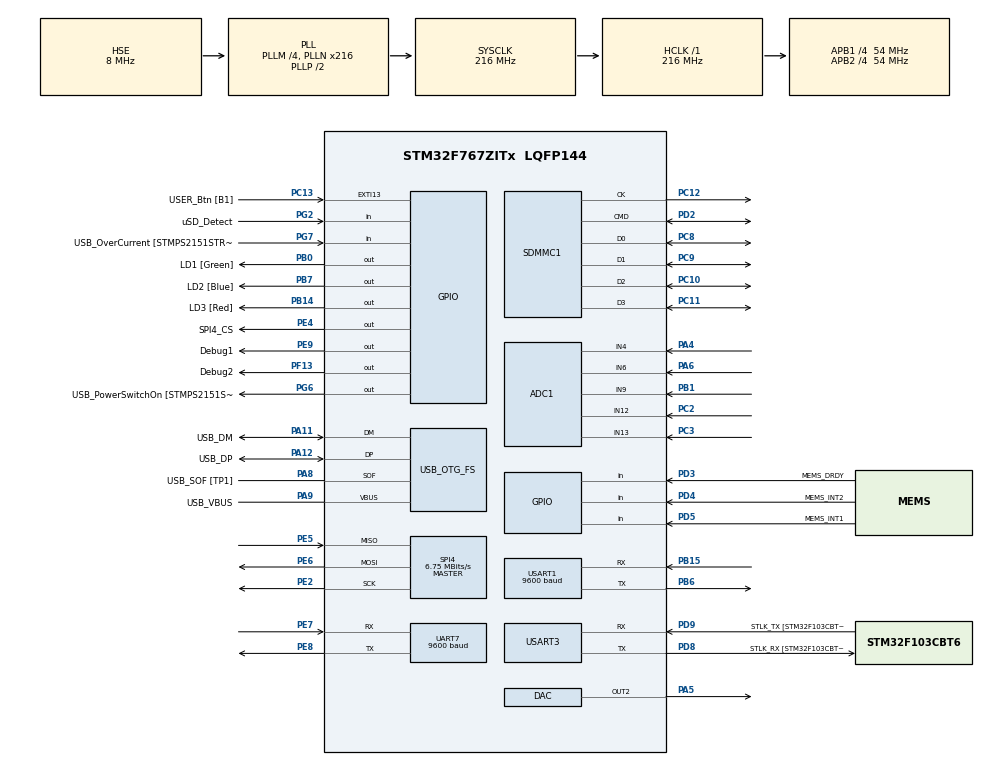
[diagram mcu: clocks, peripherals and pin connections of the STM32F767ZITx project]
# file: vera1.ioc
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ADC1.Channel-10\#ChannelRegularConversion=ADC_CHANNEL_9
ADC1.Channel-11\#ChannelRegularConversion=ADC_CHANNEL_12
ADC1.Channel-12\#ChannelRegularConversion=ADC_CHANNEL_6
ADC1.Channel-13\#ChannelRegularConversion=ADC_CHANNEL_13
ADC1.Channel-9\#ChannelRegularConversion=ADC_CHANNEL_4
ADC1.DMAContinuousRequests=ENABLE
ADC1.EOCSelection=ADC_EOC_SEQ_CONV
ADC1.ExternalTrigConv=ADC_EXTERNALTRIGCONV_T2_TRGO
ADC1.NbrOfConversion=5
ADC1.NbrOfConversionFlag=1
ADC1.Rank-10\#ChannelRegularConversion=2
ADC1.Rank-11\#ChannelRegularConversion=3
ADC1.Rank-12\#ChannelRegularConversion=4
ADC1.Rank-13\#ChannelRegularConversion=5
ADC1.Rank-9\#ChannelRegularConversion=1
ADC1.SamplingTime-10\#ChannelRegularConversion=ADC_SAMPLETIME_3CYCLES
ADC1.SamplingTime-11\#ChannelRegularConversion=ADC_SAMPLETIME_3CYCLES
ADC1.SamplingTime-12\#ChannelRegularConversion=ADC_SAMPLETIME_3CYCLES
ADC1.SamplingTime-13\#ChannelRegularConversion=ADC_SAMPLETIME_3CYCLES
ADC1.SamplingTime-9\#ChannelRegularConversion=ADC_SAMPLETIME_3CYCLES
ADC1.master=1
CORTEX_M7.CPU_DCache=Disabled
CORTEX_M7.CPU_ICache=Disabled
Dma.ADC1.2.Direction=DMA_PERIPH_TO_MEMORY
Dma.ADC1.2.FIFOMode=DMA_FIFOMODE_DISABLE
Dma.ADC1.2.Instance=DMA2_Stream4
Dma.ADC1.2.MemDataAlignment=DMA_MDATAALIGN_HALFWORD
Dma.ADC1.2.MemInc=DMA_MINC_ENABLE
Dma.ADC1.2.Mode=DMA_CIRCULAR
Dma.ADC1.2.PeriphDataAlignment=DMA_PDATAALIGN_HALFWORD
Dma.ADC1.2.PeriphInc=DMA_PINC_DISABLE
Dma.ADC1.2.Priority=DMA_PRIORITY_LOW
Dma.Request0=SDMMC1_RX
Dma.Request1=SDMMC1_TX
Dma.Request2=ADC1
Dma.Request3=SPI4_RX
Dma.Request4=SPI4_TX
Dma.Request5=UART7_RX
Dma.Request6=USART1_RX
Dma.SDMMC1_RX.0.Direction=DMA_PERIPH_TO_MEMORY
Dma.SDMMC1_RX.0.FIFOMode=DMA_FIFOMODE_ENABLE
Dma.SDMMC1_RX.0.FIFOThreshold=DMA_FIFO_THRESHOLD_FULL
Dma.SDMMC1_RX.0.Instance=DMA2_Stream6
Dma.SDMMC1_RX.0.MemBurst=DMA_MBURST_INC4
Dma.SDMMC1_RX.0.MemDataAlignment=DMA_MDATAALIGN_WORD
Dma.SDMMC1_RX.0.MemInc=DMA_MINC_ENABLE
Dma.SDMMC1_RX.0.Mode=DMA_PFCTRL
Dma.SDMMC1_RX.0.PeriphBurst=DMA_PBURST_INC4
Dma.SDMMC1_RX.0.PeriphDataAlignment=DMA_PDATAALIGN_WORD
Dma.SDMMC1_RX.0.PeriphInc=DMA_PINC_DISABLE
Dma.SDMMC1_RX.0.Priority=DMA_PRIORITY_LOW
Dma.SDMMC1_TX.1.Direction=DMA_MEMORY_TO_PERIPH
Dma.SDMMC1_TX.1.FIFOMode=DMA_FIFOMODE_ENABLE
Dma.SDMMC1_TX.1.FIFOThreshold=DMA_FIFO_THRESHOLD_FULL
Dma.SDMMC1_TX.1.Instance=DMA2_Stream3
Dma.SDMMC1_TX.1.MemBurst=DMA_MBURST_INC4
Dma.SDMMC1_TX.1.MemDataAlignment=DMA_MDATAALIGN_WORD
Dma.SDMMC1_TX.1.MemInc=DMA_MINC_ENABLE
Dma.SDMMC1_TX.1.Mode=DMA_PFCTRL
Dma.SDMMC1_TX.1.PeriphBurst=DMA_PBURST_INC4
Dma.SDMMC1_TX.1.PeriphDataAlignment=DMA_PDATAALIGN_WORD
Dma.SDMMC1_TX.1.PeriphInc=DMA_PINC_DISABLE
Dma.SDMMC1_TX.1.Priority=DMA_PRIORITY_LOW
Dma.SPI4_RX.3.Direction=DMA_PERIPH_TO_MEMORY
Dma.SPI4_RX.3.FIFOMode=DMA_FIFOMODE_DISABLE
Dma.SPI4_RX.3.Instance=DMA2_Stream0
Dma.SPI4_RX.3.MemDataAlignment=DMA_MDATAALIGN_BYTE
Dma.SPI4_RX.3.MemInc=DMA_MINC_ENABLE
Dma.SPI4_RX.3.Mode=DMA_NORMAL
Dma.SPI4_RX.3.PeriphDataAlignment=DMA_PDATAALIGN_BYTE
Dma.SPI4_RX.3.PeriphInc=DMA_PINC_DISABLE
Dma.SPI4_RX.3.Priority=DMA_PRIORITY_LOW
Dma.SPI4_TX.4.Direction=DMA_MEMORY_TO_PERIPH
Dma.SPI4_TX.4.FIFOMode=DMA_FIFOMODE_DISABLE
Dma.SPI4_TX.4.Instance=DMA2_Stream1
Dma.SPI4_TX.4.MemDataAlignment=DMA_MDATAALIGN_BYTE
Dma.SPI4_TX.4.MemInc=DMA_MINC_ENABLE
Dma.SPI4_TX.4.Mode=DMA_NORMAL
Dma.SPI4_TX.4.PeriphDataAlignment=DMA_PDATAALIGN_BYTE
Dma.SPI4_TX.4.PeriphInc=DMA_PINC_DISABLE
Dma.SPI4_TX.4.Priority=DMA_PRIORITY_LOW
Dma.UART7_RX.5.Direction=DMA_PERIPH_TO_MEMORY
Dma.UART7_RX.5.FIFOMode=DMA_FIFOMODE_DISABLE
Dma.UART7_RX.5.Instance=DMA1_Stream3
Dma.UART7_RX.5.MemDataAlignment=DMA_MDATAALIGN_BYTE
Dma.UART7_RX.5.MemInc=DMA_MINC_ENABLE
Dma.UART7_RX.5.Mode=DMA_NORMAL
Dma.UART7_RX.5.PeriphDataAlignment=DMA_PDATAALIGN_BYTE
Dma.UART7_RX.5.PeriphInc=DMA_PINC_DISABLE
Dma.UART7_RX.5.Priority=DMA_PRIORITY_LOW
Dma.USART1_RX.6.Direction=DMA_PERIPH_TO_MEMORY
Dma.USART1_RX.6.FIFOMode=DMA_FIFOMODE_DISABLE
Dma.USART1_RX.6.Instance=DMA2_Stream2
Dma.USART1_RX.6.MemDataAlignment=DMA_MDATAALIGN_BYTE
Dma.USART1_RX.6.MemInc=DMA_MINC_ENABLE
Dma.USART1_RX.6.Mode=DMA_NORMAL
Dma.USART1_RX.6.PeriphDataAlignment=DMA_PDATAALIGN_BYTE
Dma.USART1_RX.6.PeriphInc=DMA_PINC_DISABLE
Dma.USART1_RX.6.Priority=DMA_PRIORITY_LOW
FATFS.BSP.number=1
FATFS.USE_DMA_CODE_SD=1
FATFS._FS_EXFAT=0
FATFS._FS_NORTC=1
FATFS._NORTC_MDAY=18
FATFS._NORTC_MON=7
FATFS._NORTC_YEAR=2024
FATFS._USE_LFN=1
FATFS0.BSP.STBoard=false
FATFS0.BSP.api=Unknown
FATFS0.BSP.instance=PG2
FATFS0.BSP.ip=GPIO
FATFS0.BSP.mode=Input
FATFS0.BSP.name=Detect_SDIO
FATFS0.BSP.solution=PG2
Mcu.Family=STM32F7
Mcu.Name=STM32F767ZITx
Mcu.Package=LQFP144
NVIC.ADC_IRQn=true\:2\:2\:true\:false\:true\:true\:true\:true
NVIC.DMA1_Stream3_IRQn=true\:0\:0\:false\:false\:true\:false\:true\:true
NVIC.DMA2_Stream0_IRQn=true\:1\:1\:true\:false\:true\:false\:true\:true
NVIC.DMA2_Stream1_IRQn=true\:2\:2\:true\:false\:true\:false\:true\:true
NVIC.DMA2_Stream2_IRQn=true\:0\:0\:false\:false\:true\:false\:true\:true
NVIC.DMA2_Stream3_IRQn=true\:0\:0\:true\:false\:true\:false\:true\:true
NVIC.DMA2_Stream4_IRQn=true\:2\:2\:true\:false\:true\:false\:true\:true
NVIC.DMA2_Stream6_IRQn=true\:0\:0\:true\:false\:true\:false\:true\:true
NVIC.OTG_FS_IRQn=true\:0\:0\:false\:false\:true\:false\:true\:true
NVIC.PriorityGroup=NVIC_PRIORITYGROUP_2
NVIC.SDMMC1_IRQn=true\:0\:0\:true\:false\:true\:true\:true\:true
NVIC.SPI4_IRQn=true\:1\:1\:true\:false\:true\:true\:true\:true
NVIC.TIM3_IRQn=true\:2\:2\:true\:false\:true\:true\:true\:true
NVIC.UART7_IRQn=true\:2\:2\:true\:false\:true\:true\:true\:true
NVIC.USART1_IRQn=true\:0\:0\:false\:false\:true\:true\:true\:true
PA10.GPIO_Label=USB_ID
PA10.Signal=USB_OTG_FS_ID
PA11.GPIO_Label=USB_DM
PA11.Mode=Device_Only
PA11.Signal=USB_OTG_FS_DM
PA12.GPIO_Label=USB_DP
PA12.Mode=Device_Only
PA12.Signal=USB_OTG_FS_DP
PA13.GPIO_Label=TMS
PA13.Mode=Serial_Wire
PA13.Signal=SYS_JTMS-SWDIO
PA14.GPIO_Label=TCK
PA14.Mode=Serial_Wire
PA14.Signal=SYS_JTCK-SWCLK
PA2.GPIO_Label=RMII_MDIO [LAN8742A-CZ-TR_MDIO]
PA2.Signal=ETH_MDIO
PA4.Signal=ADCx_IN4
PA5.Signal=COMP_DAC2_group
PA6.Signal=ADCx_IN6
PA7.GPIO_Label=RMII_CRS_DV [LAN8742A-CZ-TR_CRS_DV]
PA7.Signal=ETH_CRS_DV
PA8.GPIO_Label=USB_SOF [TP1]
PA8.Mode=Activate_SOF_FS
PA8.Signal=USB_OTG_FS_SOF
PA9.GPIO_Label=USB_VBUS
PA9.Mode=Activate_VBUS
PA9.Signal=USB_OTG_FS_VBUS
PB0.GPIO_Label=LD1 [Green]
PB0.Signal=GPIO_Output
PB1.Signal=ADCx_IN9
PB13.GPIO_Label=RMII_TXD1 [LAN8742A-CZ-TR_TXD1]
PB13.Signal=ETH_TXD1
PB14.GPIO_Label=LD3 [Red]
PB14.Signal=GPIO_Output
PB15.Mode=Asynchronous
PB15.Signal=USART1_RX
PB3.Signal=SYS_JTDO-SWO
PB6.Mode=Asynchronous
PB6.Signal=USART1_TX
PB7.GPIO_Label=LD2 [Blue]
PB7.Signal=GPIO_Output
PB8.Signal=UART5_RX
PB9.Signal=UART5_TX
PC1.GPIO_Label=RMII_MDC [LAN8742A-CZ-TR_MDC]
PC1.Signal=ETH_MDC
PC10.GPIO_PuPd=GPIO_PULLUP
PC10.GPIO_Speed_High_Default=GPIO_SPEED_FREQ_HIGH
PC10.Mode=SD_4_bits_Wide_bus
PC10.Signal=SDMMC1_D2
PC11.GPIO_PuPd=GPIO_PULLUP
PC11.GPIO_Speed_High_Default=GPIO_SPEED_FREQ_HIGH
PC11.Mode=SD_4_bits_Wide_bus
PC11.Signal=SDMMC1_D3
PC12.GPIO_PuPd=GPIO_PULLUP
PC12.GPIO_Speed_High_Default=GPIO_SPEED_FREQ_HIGH
PC12.Mode=SD_4_bits_Wide_bus
PC12.Signal=SDMMC1_CK
PC13.GPIO_Label=USER_Btn [B1]
PC13.Signal=GPXTI13
PC14/OSC32_IN.Signal=RCC_OSC32_IN
PC15/OSC32_OUT.Signal=RCC_OSC32_OUT
PC2.Signal=ADCx_IN12
PC3.Signal=ADCx_IN13
PC4.GPIO_Label=RMII_RXD0 [LAN8742A-CZ-TR_RXD0]
PC4.Signal=ETH_RXD0
PC5.GPIO_Label=RMII_RXD1 [LAN8742A-CZ-TR_RXD1]
PC5.Signal=ETH_RXD1
PC8.GPIO_PuPd=GPIO_PULLUP
PC8.GPIO_Speed_High_Default=GPIO_SPEED_FREQ_HIGH
PC8.Mode=SD_4_bits_Wide_bus
PC8.Signal=SDMMC1_D0
PC9.GPIO_PuPd=GPIO_PULLUP
PC9.GPIO_Speed_High_Default=GPIO_SPEED_FREQ_HIGH
PC9.Mode=SD_4_bits_Wide_bus
PC9.Signal=SDMMC1_D1
PD2.GPIO_PuPd=GPIO_PULLUP
PD2.GPIO_Speed_High_Default=GPIO_SPEED_FREQ_HIGH
PD2.Mode=SD_4_bits_Wide_bus
PD2.Signal=SDMMC1_CMD
PD3.GPIO_Label=MEMS_DRDY
PD3.Signal=GPIO_Input
PD4.GPIO_Label=MEMS_INT2
PD4.Signal=GPIO_Input
PD5.GPIO_Label=MEMS_INT1
PD5.Signal=GPIO_Input
PD8.GPIO_Label=STLK_RX [STM32F103CBT6_PA3]
PD8.Mode=Asynchronous
PD8.Signal=USART3_TX
PD9.GPIO_Label=STLK_TX [STM32F103CBT6_PA2]
PD9.Mode=Asynchronous
PD9.Signal=USART3_RX
PE2.Mode=Full_Duplex_Master
PE2.Signal=SPI4_SCK
PE4.GPIO_Label=SPI4_CS
PE4.GPIO_Speed=GPIO_SPEED_FREQ_MEDIUM
PE4.Signal=GPIO_Output
PE5.Mode=Full_Duplex_Master
PE5.Signal=SPI4_MISO
PE6.Mode=Full_Duplex_Master
PE6.Signal=SPI4_MOSI
PE7.Mode=Asynchronous
PE7.Signal=UART7_RX
PE8.Mode=Asynchronous
PE8.Signal=UART7_TX
PE9.GPIO_Label=Debug1
PE9.GPIO_ModeDefaultOutputPP=GPIO_MODE_OUTPUT_PP
PE9.GPIO_PuPd=GPIO_NOPULL
PE9.GPIO_Speed=GPIO_SPEED_FREQ_MEDIUM
PE9.Signal=GPIO_Output
PF13.GPIO_Label=Debug2
PF13.GPIO_Speed=GPIO_SPEED_FREQ_MEDIUM
PF13.Signal=GPIO_Output
PG13.GPIO_Label=RMII_TXD0 [LAN8742A-CZ-TR_TXD0]
PG13.Signal=ETH_TXD0
PG2.GPIO_Label=uSD_Detect
PG2.Signal=GPIO_Input
PG6.GPIO_Label=USB_PowerSwitchOn [STMPS2151STR_EN]
PG6.Signal=GPIO_Output
PG7.GPIO_Label=USB_OverCurrent [STMPS2151STR_FAULT]
PG7.Signal=GPIO_Input
PH0/OSC_IN.Mode=HSE-External-Oscillator
PH0/OSC_IN.Signal=RCC_OSC_IN
PH1/OSC_OUT.Mode=HSE-External-Oscillator
PH1/OSC_OUT.Signal=RCC_OSC_OUT
ProjectManager.HeapSize=0x200
ProjectManager.StackSize=0x400
ProjectManager.TargetToolchain=STM32CubeIDE
RCC.48MHZClocksFreq_Value=24000000
RCC.AHBFreq_Value=216000000
RCC.APB1CLKDivider=RCC_HCLK_DIV4
RCC.APB1Freq_Value=54000000
RCC.APB1TimFreq_Value=108000000
RCC.APB2CLKDivider=RCC_HCLK_DIV4
RCC.APB2Freq_Value=54000000
RCC.APB2TimFreq_Value=108000000
RCC.CortexFreq_Value=216000000
RCC.HCLKFreq_Value=216000000
RCC.HSE_VALUE=8000000
RCC.HSI_VALUE=16000000
RCC.LSE_VALUE=32768
RCC.PLLM=4
RCC.PLLMUL=RCC_PLL_MUL9
RCC.PLLN=216
RCC.PLLQ=9
RCC.PRESCALERUSB=RCC_USBCLKSOURCE_PLL_DIV1_5
RCC.SDMMCClockSelection=RCC_SDMMC1CLKSOURCE_CLK48
RCC.SYSCLKFreq_VALUE=216000000
RCC.SYSCLKSource=RCC_SYSCLKSOURCE_PLLCLK
RCC.SYSCLKSourceVirtual=RCC_SYSCLKSOURCE_PLLCLK
RCC.USBFreq_Value=48000000
RCC.VCOOutputFreq_Value=432000000
SH.ADCx_IN12.0=ADC1_IN12,IN12
SH.ADCx_IN13.0=ADC1_IN13,IN13
SH.ADCx_IN4.0=ADC1_IN4,IN4
SH.ADCx_IN6.0=ADC1_IN6,IN6
SH.ADCx_IN9.0=ADC1_IN9,IN9
SH.COMP_DAC2_group.0=DAC_OUT2,DAC_OUT2
SPI4.BaudRatePrescaler=SPI_BAUDRATEPRESCALER_8
SPI4.CalculateBaudRate=6.75 MBits/s
SPI4.DataSize=SPI_DATASIZE_8BIT
SPI4.Direction=SPI_DIRECTION_2LINES
SPI4.Mode=SPI_MODE_MASTER
SPI4.NSSPMode=SPI_NSS_PULSE_DISABLE
SPI4.VirtualType=VM_MASTER
TIM2.Period=6750-1
TIM2.Prescaler=0
TIM2.TIM_MasterOutputTrigger=TIM_TRGO_UPDATE
TIM3.Period=4-1
TIM3.TIM_MasterOutputTrigger=TIM_TRGO_UPDATE
UART7.AutoBaudRateEnableParam=UART_ADVFEATURE_AUTOBAUDRATE_DISABLE
UART7.BaudRate=9600
UART7.OverrunDisableParam=UART_ADVFEATURE_OVERRUN_DISABLE
USART1.BaudRate=9600
USART1.OverrunDisableParam=ADVFEATURE_OVERRUN_DISABLE
USART1.VirtualMode-Asynchronous=VM_ASYNC
USART3.VirtualMode-Asynchronous=VM_ASYNC
USB_DEVICE.CLASS_NAME_FS=CDC
USB_DEVICE.MANUFACTURER_STRING-CDC_FS=MircoH
USB_DEVICE.PRODUCT_STRING_CDC_FS=VeRa1
USB_DEVICE.VID-CDC_FS=1807
USB_DEVICE.VirtualMode-CDC_FS=Cdc
USB_DEVICE.VirtualModeFS=Cdc_FS
USB_OTG_FS.VirtualMode=Device_Only
VP_FATFS_VS_SDIO.Mode=SDIO
VP_TIM2_VS_ClockSourceINT.Mode=Internal
VP_TIM3_VS_ClockSourceITR.Mode=TriggerSource_ITR1
VP_TIM3_VS_ControllerModeClock.Mode=Clock Mode
VP_USB_DEVICE_VS_USB_DEVICE_CDC_FS.Mode=CDC_FS
board=NUCLEO-F767ZI

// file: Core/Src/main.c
/* USER CODE BEGIN Header */
/*
 * Copyright (c) 2024 Mirco Heitmann
 * All rights reserved.
 *
 * This source code is licensed under the BSD-style license found in the
 * LICENSE file in the root directory of this source tree.
 *
 * main.c
 */
/* USER CODE END Header */
#include "main.h"
#include "fatfs.h"
#include "usb_device.h"

/* USER CODE BEGIN Includes */
#include "usbd_cdc_if.h"
#include "platform.h"
#include "log.h"
#include "sd.h"
#include "config.h"
#include "data_points.h"
#include "debug_tests.h"
#include "adxl.h"
#include "nmea.h"
#include "fir.h"
#include "fir_taps.h"
#include "double_buffering.h"
/* USER CODE END Includes */

/* USER CODE BEGIN PD */
#define PUTCHAR_PROTOTYPE int __io_putchar(int ch)
/* USER CODE END PD */

ADC_HandleTypeDef hadc1;
DMA_HandleTypeDef hdma_adc1;

DAC_HandleTypeDef hdac;

SD_HandleTypeDef hsd1;
DMA_HandleTypeDef hdma_sdmmc1_rx;
DMA_HandleTypeDef hdma_sdmmc1_tx;

SPI_HandleTypeDef hspi4;
DMA_HandleTypeDef hdma_spi4_rx;
DMA_HandleTypeDef hdma_spi4_tx;

TIM_HandleTypeDef htim2;
TIM_HandleTypeDef htim3;

UART_HandleTypeDef huart7;
UART_HandleTypeDef huart1;
UART_HandleTypeDef huart3;
DMA_HandleTypeDef hdma_uart7_rx;
DMA_HandleTypeDef hdma_usart1_rx;

/* USER CODE BEGIN PV */
Log_t hlog; // Logger
Vera_SD_t hvsd1; // SD card
ADXL_t hadxl; // MEMS sensor ADXL-357
NMEA_t hnmea; // GNSS module Navilock 62528
FIR_t hfir_pz[PIEZO_COUNT_MAX]; // FIR filters for ADC channels
Double_Buffer_t hbuffer_a, hbuffer_p; // Manages double buffering flags for acceleration and position buffers

uint32_t last_page_change = 0; // Time of last call to SD_NewPage
volatile uint8_t capture_running = 0; // 0: Not running, 1: running
volatile uint32_t ticks_counter = 0; // Increments with each acceleration data point
uint32_t time_p_inc = 0; // When a valid NMEA packet is received, this is set to end time of current data point (NMEA_PACKET_MERGE_DURATION)
uint32_t time_p_last = 0; // Time of last NMEA packet
uint32_t time_p_last_lock = 0; // Time of last NMEA packet with valid position

volatile uint16_t pz_dma_buffer[PIEZO_COUNT_MAX * OVERSAMPLING_RATIO_MAX]; // DMA buffer for piezo ADC data, stores n samples (where n is the oversampling ratio)

// Double buffering arrays and pointers to current element
volatile a_data_point_t a_buffer_1[A_BUFFER_LEN_MAX];
volatile a_data_point_t a_buffer_2[A_BUFFER_LEN_MAX];
volatile a_data_point_t *a_current_data_point;
volatile p_data_point_t p_buffer_1[P_BUFFER_LEN_MAX];
volatile p_data_point_t p_buffer_2[P_BUFFER_LEN_MAX];
volatile p_data_point_t *p_current_data_point;

// Flags for current data point (allow for atomic set operations in IRQ's)
volatile uint8_t flag_complete_a_mems = 0;
volatile uint8_t flag_complete_a_pz = 0;
volatile uint8_t flag_complete_p_position = 0;
volatile uint8_t flag_complete_p_speed = 0;
volatile uint8_t flag_complete_p_altitude = 0;
volatile uint8_t flag_complete_p_time = 0;
/* USER CODE END PV */

void SystemClock_Config(void);
static void MX_GPIO_Init(void);
static void MX_DMA_Init(void);
static void MX_SDMMC1_SD_Init(void);
static void MX_USART3_UART_Init(void);
static void MX_TIM2_Init(void);
static void MX_ADC1_Init(void);
static void MX_TIM3_Init(void);
static void MX_DAC_Init(void);
static void MX_SPI4_Init(void);
static void MX_UART7_Init(void);
static void MX_USART1_UART_Init(void);
/* USER CODE BEGIN PFP */
void Main_Save_a_Buffer(volatile a_data_point_t *buffer);
void Main_Save_p_Buffer(volatile p_data_point_t *buffer);
void Main_Double_Buffer_Loop();
void Main_NMEA_Loop();
void Main_Increment_a_Buffer();
void Main_Increment_p_Buffer();
/* USER CODE END PFP */

int main(void)
{

	/* MCU Configuration--------------------------------------------------------*/

	/* Reset of all peripherals, Initializes the Flash interface and the Systick. */
	HAL_Init();

	/* Configure the system clock */
	SystemClock_Config();

	/* Initialize all configured peripherals */
	MX_GPIO_Init();
	MX_DMA_Init();
	MX_SDMMC1_SD_Init();
	MX_FATFS_Init();
	MX_USART3_UART_Init();
	MX_TIM2_Init();
	MX_ADC1_Init();
	MX_TIM3_Init();
	MX_DAC_Init();
	MX_SPI4_Init();
	MX_UART7_Init();
	MX_USB_DEVICE_Init();
	MX_USART1_UART_Init();
	/* USER CODE BEGIN 2 */

	// Check if card should be formatted -> either by config or by button push
	uint8_t do_format_sd = DEBUG_TEST_ALWAYS_FORMAT_SD;
#if DEBUG_TEST_NEVER_FORMAT_SD
	do_format_sd = 0;
#else
	if (HAL_GPIO_ReadPin(USER_Btn_GPIO_Port, USER_Btn_Pin) == GPIO_PIN_SET)
	{
		do_format_sd = 1;
	}
#endif

	// Boot blink sequence
	for (uint8_t i = 0; i < 3; i++)
	{
		HAL_GPIO_WritePin(LED_GNSS_LOCK, i == 0 ? GPIO_PIN_SET : GPIO_PIN_RESET);
		HAL_GPIO_WritePin(LED_ACTIVE, i == 1 ? GPIO_PIN_SET : GPIO_PIN_RESET);
		HAL_GPIO_WritePin(LED_ERROR, i == 2 ? GPIO_PIN_SET : GPIO_PIN_RESET);
		HAL_Delay(125);
	}
	HAL_GPIO_WritePin(LED_GNSS_LOCK, GPIO_PIN_RESET);
	HAL_GPIO_WritePin(LED_ACTIVE, GPIO_PIN_RESET);
	HAL_GPIO_WritePin(LED_ERROR, GPIO_PIN_RESET);
	HAL_GPIO_WritePin(Debug1_GPIO_Port, Debug1_Pin, GPIO_PIN_RESET);
	HAL_GPIO_WritePin(Debug2_GPIO_Port, Debug2_Pin, GPIO_PIN_RESET);

	// Blink as acknowledgement for SD formatting
	if (do_format_sd)
	{
		HAL_GPIO_TogglePin(LED_GNSS_LOCK);
		HAL_Delay(100);
		HAL_GPIO_TogglePin(LED_GNSS_LOCK);
	}

	// Provide some time to connect virtual COM port
	HAL_Delay(2500);

	// Init logger
	hlog.huart = &huart3;
	hlog.hvsd = &hvsd1;
	hlog.flush_timeout = 100;
	Log_Init(&hlog);

	printf("\r\n\r\n(%lu) Booting...\r\n", HAL_GetTick());

#if DEBUG_TEST_FAST_BOOT
	Debug_test_fast_boot(&hadc1, &htim2, &htim3, (uint16_t*)pz_dma_buffer);
	capture_running = 1;
	while (1)
		;
#endif

	// Init SD card
	hvsd1.Detect_GPIO_Port = uSD_Detect_GPIO_Port;
	hvsd1.Detect_Pin = uSD_Detect_Pin;
	hvsd1.fatfs = &SDFatFS;
	hvsd1.fatfs_file = &SDFile;
	hvsd1.fatfs_path = SDPath;
	if (SD_Init(&hvsd1, do_format_sd) != HAL_OK)
	{
		Error_Handler();
	}
	printf("(%lu) SD card initialized\r\n", HAL_GetTick());

	// Load default configuration
	Config_Default();
#if LOAD_CONFIG
	// Load configuration from SD card
	char config_buffer[500];
	if (SD_FileExists(&hvsd1, CONFIG_FILE_PATH))
	{
		printf("(%lu) Config found, reading...\r\n", HAL_GetTick());
		UINT config_buffer_size = 0;
		if (SD_ReadBuffer(&hvsd1, CONFIG_FILE_PATH, config_buffer, sizeof(config_buffer), &config_buffer_size) != HAL_OK)
		{
			Error_Handler();
		}
		if (config_buffer_size < sizeof(config_buffer))
		{
			config_buffer[config_buffer_size] = '\0';
			Config_Load(config_buffer, strlen(config_buffer));
		}
		else
		{
			printf("(%lu) Config file too large, using default\r\n", HAL_GetTick());
		}
	}
	else
	{
		printf("(%lu) No config found, writing default...\r\n", HAL_GetTick());
		Config_Save(config_buffer, sizeof(config_buffer));
		if (SD_TouchFile(&hvsd1, CONFIG_FILE_PATH) != HAL_OK)
		{
			Error_Handler();
		}
		if (SD_WriteBuffer(&hvsd1, CONFIG_FILE_PATH, config_buffer, strlen(config_buffer)) != HAL_OK)
		{
			Error_Handler();
		}
	}
#endif
#if !DEBUG_TEST_NO_CONFIG_LOG
	Debug_test_print_config();
#endif

	// Initialize based on config
	if (Config_Init(&hadc1, &htim2, &htim3) != HAL_OK)
	{
		Error_Handler();
	}
	printf("(%lu) Configuration loaded\r\n", HAL_GetTick());

	// Init acceleration data double buffering
	hbuffer_a.buffer_len = config.a_buffer_len;
	hbuffer_a.buffer_1 = a_buffer_1;
	hbuffer_a.buffer_2 = a_buffer_2;
	hbuffer_a.element_size = sizeof(a_data_point_t);
	Double_Buffer_Init(&hbuffer_a);
	a_current_data_point = Double_Buffer_Current(&hbuffer_a);

	// Init position data double buffering
	hbuffer_p.buffer_len = config.p_buffer_len;
	hbuffer_p.buffer_1 = p_buffer_1;
	hbuffer_p.buffer_2 = p_buffer_2;
	hbuffer_p.element_size = sizeof(p_data_point_t);
	Double_Buffer_Init(&hbuffer_p);
	p_current_data_point = Double_Buffer_Current(&hbuffer_p);

	// Initialize ADXL357
	hadxl.hspi = &ADXL_SPI;
	hadxl.sampling_rate = config.a_sampling_rate;
	hadxl.acceleration_range = config.adxl_range;
	hadxl.timeout = 100;
	hadxl.CS_GPIO_Port = ADXL_CS_GPIO_Port;
	hadxl.CS_Pin = ADXL_CS_Pin;
	if (ADXL_Init(&hadxl) == HAL_ERROR)
	{
		Error_Handler();
	}

	// Initialize Navilock 62528
	hnmea.huart = &NMEA_HUART;
	hnmea.baud = 115200;
	hnmea.tx_timeout = 1000;
	hnmea.rx_timeout = 1000;
	hnmea.sampling_rate = config.p_sampling_rate;
	if (NMEA_Init(&hnmea) == HAL_ERROR)
	{
		Error_Handler();
	}

	// Wait for GNSS date if configured
	if (!config.boot_without_date)
	{
		NMEA_Data_t gnss_data = NMEA_GetDate(&hnmea);
		if (gnss_data.date_valid)
		{
			// Received valid date
			hvsd1.date_year = gnss_data.year + 2000;
			hvsd1.date_month = gnss_data.month;
			hvsd1.date_day = gnss_data.day;
			printf("(%lu) GNSS date: %04hu-%02u-%02u", HAL_GetTick(), hvsd1.date_year, hvsd1.date_month, hvsd1.date_day);
			if (gnss_data.time_valid)
			{
				// Received valid time
				printf(" UTC time: %02u:%02u:%06.3f\r\n", gnss_data.hour, gnss_data.minute, gnss_data.second);
			}
			else
			{
				printf("\r\n");
			}
		}
		else
		{
			printf("(%lu) WARNING: No GNSS date received, saving as %04hu_%02u_%02u\r\n", HAL_GetTick(), hvsd1.date_year, hvsd1.date_month, hvsd1.date_day);
		}
	}

	// Create directory, initialize files
	if (SD_InitDir(&hvsd1) != HAL_OK)
	{
		// Try writing to different dir in case of error
		sprintf(hvsd1.dir_path, DIR_FORMAT, 1, 1, 1, 1L);
		printf("(%lu) WARNING: SD_Init_Dir failed, writing to error dir %s\r\n", HAL_GetTick(), hvsd1.dir_path);
		FRESULT res;
		if ((res = f_mkdir(hvsd1.dir_path)) != FR_OK)
		{
			printf("(%lu) ERROR: main: Create error dir (\"%s\") failed, is the SD card read-only?\r\n", HAL_GetTick(), hvsd1.dir_path);
			// Creating date-based directory failed and creating fallback directory failed, appearently no write access to the SD card
			Error_Handler();
			while (1)
				;
		}
		// Update file paths to use new directory
		if (SD_UpdateFilepaths(&hvsd1) != HAL_OK)
		{
			printf("(%lu) ERROR: main: SD_UpdateFilepaths failed, is the SD card read-only?\r\n", HAL_GetTick());
			// Creating files in directory failed, appearently files can not be written to the SD card
			Error_Handler();
			while (1)
				;
		}
	}
	printf("(%lu) Writing dir \"%s\"\r\n", HAL_GetTick(), hvsd1.dir_path);

	// Init digital FIR filter
	if (config.fir_type > 0)
	{
		for (uint8_t i_ch = 0; i_ch < config.piezo_count; i_ch++)
		{
			// Copy FIR taps (selected in config file) to taps array of filter instance
			memcpy(hfir_pz[i_ch].Taps, fir_taps_types[config.fir_type], fir_taps_lens[config.fir_type] * sizeof(q15_t));
			// Set filter taps count
			hfir_pz[i_ch].Nt = fir_taps_lens[config.fir_type];
			FIR_Init(&hfir_pz[i_ch]);
		}
	}

	a_current_data_point->timestamp = 0;
	p_current_data_point->timestamp = 0;

#if DEBUG_TEST_FIR_FREQUENCY_SWEEP
	Debug_test_FIR_frequency_sweep(&hfir_pz[0]);
#endif

#if DEBUG_TEST_FIR_DAC
	HAL_DAC_Start(&hdac, DAC_CHANNEL_2);
#endif

	// If button is still held down (for SD card formatting), wait for release. Otherwise capture is stopped immediately
	while (HAL_GPIO_ReadPin(USER_Btn_GPIO_Port, USER_Btn_Pin) == GPIO_PIN_SET)
		;
	// Debounce delay
	HAL_Delay(250);

	// Start piezo ADC
	if (HAL_ADC_Start_DMA(&hadc1, (uint32_t*)pz_dma_buffer, config.piezo_count * config.oversampling_ratio) == HAL_ERROR)
	{
		printf("(%lu) ERROR: main: ADC1 HAL_ADC_Start_DMA failed\r\n", HAL_GetTick());
		Error_Handler();
	}
	// Start oversampling timer
	if (HAL_TIM_Base_Start_IT(&htim2) == HAL_ERROR)
	{
		printf("(%lu) ERROR: main: HAL_TIM_Base_Start_IT failed\r\n", HAL_GetTick());
		Error_Handler();
	}
	// Start regular sampling timer
	if (HAL_TIM_Base_Start_IT(&htim3) == HAL_ERROR)
	{
		printf("(%lu) ERROR: main: HAL_TIM_Base_Start_IT failed\r\n", HAL_GetTick());
		Error_Handler();
	}

	uint32_t boot_duration = HAL_GetTick();
	printf("(%lu) Capture started\r\n", boot_duration);
	HAL_Delay(hlog.flush_timeout);
	Log_Loop(&hlog);

	// Write file headers
	hvsd1.a_header.version = VERSION;
	hvsd1.a_header.a_buffer_len = config.a_buffer_len;
	hvsd1.a_header.a_sampling_rate = config.a_sampling_rate;
	hvsd1.a_header.boot_duration = boot_duration;
	hvsd1.a_header.fir_taps_len = fir_taps_lens[config.fir_type];
	hvsd1.a_header.oversampling_ratio = config.oversampling_ratio;
	hvsd1.a_header.piezo_count_max = PIEZO_COUNT_MAX;
	hvsd1.a_header.piezo_count = config.piezo_count;
	hvsd1.p_header.version = VERSION;
	hvsd1.p_header.p_buffer_len = config.p_buffer_len;
	hvsd1.p_header.p_sampling_rate = config.p_sampling_rate;
	hvsd1.p_header.boot_duration = boot_duration;
	hvsd1.p_header.year = hvsd1.date_year;
	hvsd1.p_header.month = hvsd1.date_month;
	hvsd1.p_header.day = hvsd1.date_day;
	SD_NewPage(&hvsd1);
	// Offset so page change doesn't happen simultaneously with buffer save -> more even file size
	last_page_change = HAL_GetTick() - 181;

	// Start NMEA_NO_PACKET_DURATION from this point in time
	time_p_last = HAL_GetTick();
	time_p_last_lock = HAL_GetTick();

#if DEBUG_TEST_PRINT_NEW_PAGE
	printf("(%lu) Page %li (\"%s\", \"%s\")\r\n", HAL_GetTick(), hvsd1.page_num, hvsd1.a_file_path, hvsd1.p_file_path);
#endif
	// Activate LED
	HAL_GPIO_WritePin(LED_ACTIVE, GPIO_PIN_SET);
	capture_running = 1;
	/* USER CODE END 2 */

	/* Infinite loop */
	/* USER CODE BEGIN WHILE */
	while (capture_running)
	{
		/* USER CODE END WHILE */

		/* USER CODE BEGIN 3 */
		DEBUG_MAIN_LOOP

		// Blink dir_num with "GNSS Lock" LED
		if (HAL_GetTick() - hvsd1.a_header.boot_duration < 2000)
		{
			HAL_GPIO_WritePin(LED_GNSS_LOCK, GPIO_PIN_SET);
		}
		else if (HAL_GetTick() - hvsd1.a_header.boot_duration < 2200)
		{
			HAL_GPIO_WritePin(LED_GNSS_LOCK, GPIO_PIN_RESET);
		}
		else if (HAL_GetTick() - hvsd1.a_header.boot_duration < 2200 + hvsd1.dir_num * 400)
		{
			HAL_GPIO_WritePin(LED_GNSS_LOCK, (HAL_GetTick() - hvsd1.a_header.boot_duration - 2200) % 400 < 200 ? GPIO_PIN_SET : GPIO_PIN_RESET);
		}

		// Process double buffering (save buffers to file)
		Main_Double_Buffer_Loop();
		// Process NMEA packets (parse line from circular buffer to p_data_point_t)
		Main_NMEA_Loop();
		// Write to log (UART, USB CDC, log file)
		Log_Loop(&hlog);

		// Create new file after page_duration
		if (HAL_GetTick() - last_page_change > config.page_duration_ms)
		{
			SD_NewPage(&hvsd1);
#if DEBUG_TEST_PRINT_NEW_PAGE
			printf("(%lu) Page %li (\"%s\", \"%s\")\r\n", HAL_GetTick(), hvsd1.page_num, hvsd1.a_file_path, hvsd1.p_file_path);
#endif
			last_page_change = HAL_GetTick();
		}

		DEBUG_MAIN_LOOP

		// Poll stop button
		if (HAL_GPIO_ReadPin(USER_Btn_GPIO_Port, USER_Btn_Pin) == GPIO_PIN_SET)
		{
			capture_running = 0;
		}
	}

	// Stop sampling timers and ADC
	HAL_TIM_Base_Stop_IT(&htim2);
	HAL_TIM_Base_Stop_IT(&htim3);
	HAL_ADC_Stop_IT(&hadc1);

	// Save remaining data
	Double_Buffer_Flush(&hbuffer_a);
	Double_Buffer_Flush(&hbuffer_p);
	Main_Double_Buffer_Loop();

	// Deactivate LEDs
	HAL_GPIO_WritePin(LED_GNSS_LOCK, GPIO_PIN_RESET);
	HAL_GPIO_WritePin(LED_ACTIVE, GPIO_PIN_RESET);

	printf("(%lu) Capture stopped (\"%s\")\r\n", HAL_GetTick(), hvsd1.dir_path);

	// Uninit
	Log_Uninit(&hlog);
	SD_Uninit(&hvsd1);

	// Stop running
	while (1)
		;
	/* USER CODE END 3 */
}

void SystemClock_Config(void)
{
	RCC_OscInitTypeDef RCC_OscInitStruct = { 0 };
	RCC_ClkInitTypeDef RCC_ClkInitStruct = { 0 };

	/** Configure the main internal regulator output voltage
	 */
	__HAL_RCC_PWR_CLK_ENABLE();
	__HAL_PWR_VOLTAGESCALING_CONFIG(PWR_REGULATOR_VOLTAGE_SCALE1);

	/** Initializes the RCC Oscillators according to the specified parameters
	 * in the RCC_OscInitTypeDef structure.
	 */
	RCC_OscInitStruct.OscillatorType = RCC_OSCILLATORTYPE_HSE;
	RCC_OscInitStruct.HSEState = RCC_HSE_ON;
	RCC_OscInitStruct.PLL.PLLState = RCC_PLL_ON;
	RCC_OscInitStruct.PLL.PLLSource = RCC_PLLSOURCE_HSE;
	RCC_OscInitStruct.PLL.PLLM = 4;
	RCC_OscInitStruct.PLL.PLLN = 216;
	RCC_OscInitStruct.PLL.PLLP = RCC_PLLP_DIV2;
	RCC_OscInitStruct.PLL.PLLQ = 9;
	RCC_OscInitStruct.PLL.PLLR = 2;
	if (HAL_RCC_OscConfig(&RCC_OscInitStruct) != HAL_OK)
	{
		Error_Handler();
	}

	/** Activate the Over-Drive mode
	 */
	if (HAL_PWREx_EnableOverDrive() != HAL_OK)
	{
		Error_Handler();
	}

	/** Initializes the CPU, AHB and APB buses clocks
	 */
	RCC_ClkInitStruct.ClockType = RCC_CLOCKTYPE_HCLK | RCC_CLOCKTYPE_SYSCLK
		| RCC_CLOCKTYPE_PCLK1 | RCC_CLOCKTYPE_PCLK2;
	RCC_ClkInitStruct.SYSCLKSource = RCC_SYSCLKSOURCE_PLLCLK;
	RCC_ClkInitStruct.AHBCLKDivider = RCC_SYSCLK_DIV1;
	RCC_ClkInitStruct.APB1CLKDivider = RCC_HCLK_DIV4;
	RCC_ClkInitStruct.APB2CLKDivider = RCC_HCLK_DIV4;

	if (HAL_RCC_ClockConfig(&RCC_ClkInitStruct, FLASH_LATENCY_7) != HAL_OK)
	{
		Error_Handler();
	}
}

static void MX_ADC1_Init(void)
{

	ADC_ChannelConfTypeDef sConfig = { 0 };

	/** Configure the global features of the ADC (Clock, Resolution, Data Alignment and number of conversion)
	 */
	hadc1.Instance = ADC1;
	hadc1.Init.ClockPrescaler = ADC_CLOCK_SYNC_PCLK_DIV2;
	hadc1.Init.Resolution = ADC_RESOLUTION_12B;
	hadc1.Init.ScanConvMode = ADC_SCAN_ENABLE;
	hadc1.Init.ContinuousConvMode = DISABLE;
	hadc1.Init.DiscontinuousConvMode = DISABLE;
	hadc1.Init.ExternalTrigConvEdge = ADC_EXTERNALTRIGCONVEDGE_RISING;
	hadc1.Init.ExternalTrigConv = ADC_EXTERNALTRIGCONV_T2_TRGO;
	hadc1.Init.DataAlign = ADC_DATAALIGN_RIGHT;
	hadc1.Init.NbrOfConversion = 5;
	hadc1.Init.DMAContinuousRequests = ENABLE;
	hadc1.Init.EOCSelection = ADC_EOC_SEQ_CONV;
	if (HAL_ADC_Init(&hadc1) != HAL_OK)
	{
		Error_Handler();
	}

	/** Configure for the selected ADC regular channel its corresponding rank in the sequencer and its sample time.
	 */
	sConfig.Channel = ADC_CHANNEL_4;
	sConfig.Rank = ADC_REGULAR_RANK_1;
	sConfig.SamplingTime = ADC_SAMPLETIME_3CYCLES;
	if (HAL_ADC_ConfigChannel(&hadc1, &sConfig) != HAL_OK)
	{
		Error_Handler();
	}

	/** Configure for the selected ADC regular channel its corresponding rank in the sequencer and its sample time.
	 */
	sConfig.Channel = ADC_CHANNEL_9;
	sConfig.Rank = ADC_REGULAR_RANK_2;
	if (HAL_ADC_ConfigChannel(&hadc1, &sConfig) != HAL_OK)
	{
		Error_Handler();
	}

	/** Configure for the selected ADC regular channel its corresponding rank in the sequencer and its sample time.
	 */
	sConfig.Channel = ADC_CHANNEL_12;
	sConfig.Rank = ADC_REGULAR_RANK_3;
	if (HAL_ADC_ConfigChannel(&hadc1, &sConfig) != HAL_OK)
	{
		Error_Handler();
	}

	/** Configure for the selected ADC regular channel its corresponding rank in the sequencer and its sample time.
	 */
	sConfig.Channel = ADC_CHANNEL_6;
	sConfig.Rank = ADC_REGULAR_RANK_4;
	if (HAL_ADC_ConfigChannel(&hadc1, &sConfig) != HAL_OK)
	{
		Error_Handler();
	}

	/** Configure for the selected ADC regular channel its corresponding rank in the sequencer and its sample time.
	 */
	sConfig.Channel = ADC_CHANNEL_13;
	sConfig.Rank = ADC_REGULAR_RANK_5;
	if (HAL_ADC_ConfigChannel(&hadc1, &sConfig) != HAL_OK)
	{
		Error_Handler();
	}

}

static void MX_DAC_Init(void)
{

	DAC_ChannelConfTypeDef sConfig = { 0 };

	/** DAC Initialization
	 */
	hdac.Instance = DAC;
	if (HAL_DAC_Init(&hdac) != HAL_OK)
	{
		Error_Handler();
	}

	/** DAC channel OUT2 config
	 */
	sConfig.DAC_Trigger = DAC_TRIGGER_NONE;
	sConfig.DAC_OutputBuffer = DAC_OUTPUTBUFFER_ENABLE;
	if (HAL_DAC_ConfigChannel(&hdac, &sConfig, DAC_CHANNEL_2) != HAL_OK)
	{
		Error_Handler();
	}

}

static void MX_SDMMC1_SD_Init(void)
{

	hsd1.Instance = SDMMC1;
	hsd1.Init.ClockEdge = SDMMC_CLOCK_EDGE_RISING;
	hsd1.Init.ClockBypass = SDMMC_CLOCK_BYPASS_DISABLE;
	hsd1.Init.ClockPowerSave = SDMMC_CLOCK_POWER_SAVE_DISABLE;
	hsd1.Init.BusWide = SDMMC_BUS_WIDE_4B;
	hsd1.Init.HardwareFlowControl = SDMMC_HARDWARE_FLOW_CONTROL_DISABLE;
	hsd1.Init.ClockDiv = 0;

}

static void MX_SPI4_Init(void)
{

	/* SPI4 parameter configuration*/
	hspi4.Instance = SPI4;
	hspi4.Init.Mode = SPI_MODE_MASTER;
	hspi4.Init.Direction = SPI_DIRECTION_2LINES;
	hspi4.Init.DataSize = SPI_DATASIZE_8BIT;
	hspi4.Init.CLKPolarity = SPI_POLARITY_LOW;
	hspi4.Init.CLKPhase = SPI_PHASE_1EDGE;
	hspi4.Init.NSS = SPI_NSS_SOFT;
	hspi4.Init.BaudRatePrescaler = SPI_BAUDRATEPRESCALER_8;
	hspi4.Init.FirstBit = SPI_FIRSTBIT_MSB;
	hspi4.Init.TIMode = SPI_TIMODE_DISABLE;
	hspi4.Init.CRCCalculation = SPI_CRCCALCULATION_DISABLE;
	hspi4.Init.CRCPolynomial = 7;
	hspi4.Init.CRCLength = SPI_CRC_LENGTH_DATASIZE;
	hspi4.Init.NSSPMode = SPI_NSS_PULSE_DISABLE;
	if (HAL_SPI_Init(&hspi4) != HAL_OK)
	{
		Error_Handler();
	}

}

static void MX_TIM2_Init(void)
{

	TIM_ClockConfigTypeDef sClockSourceConfig = { 0 };
	TIM_MasterConfigTypeDef sMasterConfig = { 0 };

	htim2.Instance = TIM2;
	htim2.Init.Prescaler = 0;
	htim2.Init.CounterMode = TIM_COUNTERMODE_UP;
	htim2.Init.Period = 6750 - 1;
	htim2.Init.ClockDivision = TIM_CLOCKDIVISION_DIV1;
	htim2.Init.AutoReloadPreload = TIM_AUTORELOAD_PRELOAD_DISABLE;
	if (HAL_TIM_Base_Init(&htim2) != HAL_OK)
	{
		Error_Handler();
	}
	sClockSourceConfig.ClockSource = TIM_CLOCKSOURCE_INTERNAL;
	if (HAL_TIM_ConfigClockSource(&htim2, &sClockSourceConfig) != HAL_OK)
	{
		Error_Handler();
	}
	sMasterConfig.MasterOutputTrigger = TIM_TRGO_UPDATE;
	sMasterConfig.MasterSlaveMode = TIM_MASTERSLAVEMODE_DISABLE;
	if (HAL_TIMEx_MasterConfigSynchronization(&htim2, &sMasterConfig) != HAL_OK)
	{
		Error_Handler();
	}

}

static void MX_TIM3_Init(void)
{

	TIM_SlaveConfigTypeDef sSlaveConfig = { 0 };
	TIM_MasterConfigTypeDef sMasterConfig = { 0 };

	htim3.Instance = TIM3;
	htim3.Init.Prescaler = 0;
	htim3.Init.CounterMode = TIM_COUNTERMODE_UP;
	htim3.Init.Period = 4 - 1;
	htim3.Init.ClockDivision = TIM_CLOCKDIVISION_DIV1;
	htim3.Init.AutoReloadPreload = TIM_AUTORELOAD_PRELOAD_DISABLE;
	if (HAL_TIM_Base_Init(&htim3) != HAL_OK)
	{
		Error_Handler();
	}
	sSlaveConfig.SlaveMode = TIM_SLAVEMODE_EXTERNAL1;
	sSlaveConfig.InputTrigger = TIM_TS_ITR1;
	if (HAL_TIM_SlaveConfigSynchro(&htim3, &sSlaveConfig) != HAL_OK)
	{
		Error_Handler();
	}
	sMasterConfig.MasterOutputTrigger = TIM_TRGO_UPDATE;
	sMasterConfig.MasterSlaveMode = TIM_MASTERSLAVEMODE_DISABLE;
	if (HAL_TIMEx_MasterConfigSynchronization(&htim3, &sMasterConfig) != HAL_OK)
	{
		Error_Handler();
	}

}

static void MX_UART7_Init(void)
{

	huart7.Instance = UART7;
	huart7.Init.BaudRate = 9600;
	huart7.Init.WordLength = UART_WORDLENGTH_8B;
	huart7.Init.StopBits = UART_STOPBITS_1;
	huart7.Init.Parity = UART_PARITY_NONE;
	huart7.Init.Mode = UART_MODE_TX_RX;
	huart7.Init.HwFlowCtl = UART_HWCONTROL_NONE;
	huart7.Init.OverSampling = UART_OVERSAMPLING_16;
	huart7.Init.OneBitSampling = UART_ONE_BIT_SAMPLE_DISABLE;
	huart7.AdvancedInit.AdvFeatureInit = UART_ADVFEATURE_RXOVERRUNDISABLE_INIT;
	huart7.AdvancedInit.OverrunDisable = UART_ADVFEATURE_OVERRUN_DISABLE;
	if (HAL_UART_Init(&huart7) != HAL_OK)
	{
		Error_Handler();
	}

}

static void MX_USART1_UART_Init(void)
{

	huart1.Instance = USART1;
	huart1.Init.BaudRate = 9600;
	huart1.Init.WordLength = UART_WORDLENGTH_8B;
	huart1.Init.StopBits = UART_STOPBITS_1;
	huart1.Init.Parity = UART_PARITY_NONE;
	huart1.Init.Mode = UART_MODE_TX_RX;
	huart1.Init.HwFlowCtl = UART_HWCONTROL_NONE;
	huart1.Init.OverSampling = UART_OVERSAMPLING_16;
	huart1.Init.OneBitSampling = UART_ONE_BIT_SAMPLE_DISABLE;
	huart1.AdvancedInit.AdvFeatureInit = UART_ADVFEATURE_RXOVERRUNDISABLE_INIT;
	huart1.AdvancedInit.OverrunDisable = UART_ADVFEATURE_OVERRUN_DISABLE;
	if (HAL_UART_Init(&huart1) != HAL_OK)
	{
		Error_Handler();
	}

}

static void MX_USART3_UART_Init(void)
{

	huart3.Instance = USART3;
	huart3.Init.BaudRate = 115200;
	huart3.Init.WordLength = UART_WORDLENGTH_8B;
	huart3.Init.StopBits = UART_STOPBITS_1;
	huart3.Init.Parity = UART_PARITY_NONE;
	huart3.Init.Mode = UART_MODE_TX_RX;
	huart3.Init.HwFlowCtl = UART_HWCONTROL_NONE;
	huart3.Init.OverSampling = UART_OVERSAMPLING_16;
	huart3.Init.OneBitSampling = UART_ONE_BIT_SAMPLE_DISABLE;
	huart3.AdvancedInit.AdvFeatureInit = UART_ADVFEATURE_NO_INIT;
	if (HAL_UART_Init(&huart3) != HAL_OK)
	{
		Error_Handler();
	}

}

static void MX_DMA_Init(void)
{

	/* DMA controller clock enable */
	__HAL_RCC_DMA2_CLK_ENABLE();
	__HAL_RCC_DMA1_CLK_ENABLE();

	/* DMA interrupt init */
	/* DMA1_Stream3_IRQn interrupt configuration */
	HAL_NVIC_SetPriority(DMA1_Stream3_IRQn, 0, 0);
	HAL_NVIC_EnableIRQ(DMA1_Stream3_IRQn);
	/* DMA2_Stream0_IRQn interrupt configuration */
	HAL_NVIC_SetPriority(DMA2_Stream0_IRQn, 1, 1);
	HAL_NVIC_EnableIRQ(DMA2_Stream0_IRQn);
	/* DMA2_Stream1_IRQn interrupt configuration */
	HAL_NVIC_SetPriority(DMA2_Stream1_IRQn, 2, 2);
	HAL_NVIC_EnableIRQ(DMA2_Stream1_IRQn);
	/* DMA2_Stream2_IRQn interrupt configuration */
	HAL_NVIC_SetPriority(DMA2_Stream2_IRQn, 0, 0);
	HAL_NVIC_EnableIRQ(DMA2_Stream2_IRQn);
	/* DMA2_Stream3_IRQn interrupt configuration */
	HAL_NVIC_SetPriority(DMA2_Stream3_IRQn, 0, 0);
	HAL_NVIC_EnableIRQ(DMA2_Stream3_IRQn);
	/* DMA2_Stream4_IRQn interrupt configuration */
	HAL_NVIC_SetPriority(DMA2_Stream4_IRQn, 2, 2);
	HAL_NVIC_EnableIRQ(DMA2_Stream4_IRQn);
	/* DMA2_Stream6_IRQn interrupt configuration */
	HAL_NVIC_SetPriority(DMA2_Stream6_IRQn, 0, 0);
	HAL_NVIC_EnableIRQ(DMA2_Stream6_IRQn);

}

static void MX_GPIO_Init(void)
{
	GPIO_InitTypeDef GPIO_InitStruct = { 0 };

	/* GPIO Ports Clock Enable */
	__HAL_RCC_GPIOE_CLK_ENABLE();
	__HAL_RCC_GPIOC_CLK_ENABLE();
	__HAL_RCC_GPIOH_CLK_ENABLE();
	__HAL_RCC_GPIOA_CLK_ENABLE();
	__HAL_RCC_GPIOB_CLK_ENABLE();
	__HAL_RCC_GPIOF_CLK_ENABLE();
	__HAL_RCC_GPIOD_CLK_ENABLE();
	__HAL_RCC_GPIOG_CLK_ENABLE();

	/*Configure GPIO pin Output Level */
	HAL_GPIO_WritePin(GPIOE, SPI4_CS_Pin | Debug1_Pin, GPIO_PIN_RESET);

	/*Configure GPIO pin Output Level */
	HAL_GPIO_WritePin(GPIOB, LD1_Pin | LD3_Pin | LD2_Pin, GPIO_PIN_RESET);

	/*Configure GPIO pin Output Level */
	HAL_GPIO_WritePin(Debug2_GPIO_Port, Debug2_Pin, GPIO_PIN_RESET);

	/*Configure GPIO pin Output Level */
	HAL_GPIO_WritePin(USB_PowerSwitchOn_GPIO_Port, USB_PowerSwitchOn_Pin, GPIO_PIN_RESET);

	/*Configure GPIO pins : SPI4_CS_Pin Debug1_Pin */
	GPIO_InitStruct.Pin = SPI4_CS_Pin | Debug1_Pin;
	GPIO_InitStruct.Mode = GPIO_MODE_OUTPUT_PP;
	GPIO_InitStruct.Pull = GPIO_NOPULL;
	GPIO_InitStruct.Speed = GPIO_SPEED_FREQ_MEDIUM;
	HAL_GPIO_Init(GPIOE, &GPIO_InitStruct);

	/*Configure GPIO pin : USER_Btn_Pin */
	GPIO_InitStruct.Pin = USER_Btn_Pin;
	GPIO_InitStruct.Mode = GPIO_MODE_IT_RISING;
	GPIO_InitStruct.Pull = GPIO_NOPULL;
	HAL_GPIO_Init(USER_Btn_GPIO_Port, &GPIO_InitStruct);

	/*Configure GPIO pins : RMII_MDC_Pin RMII_RXD0_Pin RMII_RXD1_Pin */
	GPIO_InitStruct.Pin = RMII_MDC_Pin | RMII_RXD0_Pin | RMII_RXD1_Pin;
	GPIO_InitStruct.Mode = GPIO_MODE_AF_PP;
	GPIO_InitStruct.Pull = GPIO_NOPULL;
	GPIO_InitStruct.Speed = GPIO_SPEED_FREQ_VERY_HIGH;
	GPIO_InitStruct.Alternate = GPIO_AF11_ETH;
	HAL_GPIO_Init(GPIOC, &GPIO_InitStruct);

	/*Configure GPIO pins : RMII_MDIO_Pin RMII_CRS_DV_Pin */
	GPIO_InitStruct.Pin = RMII_MDIO_Pin | RMII_CRS_DV_Pin;
	GPIO_InitStruct.Mode = GPIO_MODE_AF_PP;
	GPIO_InitStruct.Pull = GPIO_NOPULL;
	GPIO_InitStruct.Speed = GPIO_SPEED_FREQ_VERY_HIGH;
	GPIO_InitStruct.Alternate = GPIO_AF11_ETH;
	HAL_GPIO_Init(GPIOA, &GPIO_InitStruct);

	/*Configure GPIO pins : LD1_Pin LD3_Pin LD2_Pin */
	GPIO_InitStruct.Pin = LD1_Pin | LD3_Pin | LD2_Pin;
	GPIO_InitStruct.Mode = GPIO_MODE_OUTPUT_PP;
	GPIO_InitStruct.Pull = GPIO_NOPULL;
	GPIO_InitStruct.Speed = GPIO_SPEED_FREQ_LOW;
	HAL_GPIO_Init(GPIOB, &GPIO_InitStruct);

	/*Configure GPIO pin : Debug2_Pin */
	GPIO_InitStruct.Pin = Debug2_Pin;
	GPIO_InitStruct.Mode = GPIO_MODE_OUTPUT_PP;
	GPIO_InitStruct.Pull = GPIO_NOPULL;
	GPIO_InitStruct.Speed = GPIO_SPEED_FREQ_MEDIUM;
	HAL_GPIO_Init(Debug2_GPIO_Port, &GPIO_InitStruct);

	/*Configure GPIO pin : RMII_TXD1_Pin */
	GPIO_InitStruct.Pin = RMII_TXD1_Pin;
	GPIO_InitStruct.Mode = GPIO_MODE_AF_PP;
	GPIO_InitStruct.Pull = GPIO_NOPULL;
	GPIO_InitStruct.Speed = GPIO_SPEED_FREQ_VERY_HIGH;
	GPIO_InitStruct.Alternate = GPIO_AF11_ETH;
	HAL_GPIO_Init(RMII_TXD1_GPIO_Port, &GPIO_InitStruct);

	/*Configure GPIO pins : uSD_Detect_Pin USB_OverCurrent_Pin */
	GPIO_InitStruct.Pin = uSD_Detect_Pin | USB_OverCurrent_Pin;
	GPIO_InitStruct.Mode = GPIO_MODE_INPUT;
	GPIO_InitStruct.Pull = GPIO_NOPULL;
	HAL_GPIO_Init(GPIOG, &GPIO_InitStruct);

	/*Configure GPIO pin : USB_PowerSwitchOn_Pin */
	GPIO_InitStruct.Pin = USB_PowerSwitchOn_Pin;
	GPIO_InitStruct.Mode = GPIO_MODE_OUTPUT_PP;
	GPIO_InitStruct.Pull = GPIO_NOPULL;
	GPIO_InitStruct.Speed = GPIO_SPEED_FREQ_LOW;
	HAL_GPIO_Init(USB_PowerSwitchOn_GPIO_Port, &GPIO_InitStruct);

	/*Configure GPIO pins : MEMS_DRDY_Pin MEMS_INT2_Pin MEMS_INT1_Pin */
	GPIO_InitStruct.Pin = MEMS_DRDY_Pin | MEMS_INT2_Pin | MEMS_INT1_Pin;
	GPIO_InitStruct.Mode = GPIO_MODE_INPUT;
	GPIO_InitStruct.Pull = GPIO_NOPULL;
	HAL_GPIO_Init(GPIOD, &GPIO_InitStruct);

	/*Configure GPIO pin : RMII_TXD0_Pin */
	GPIO_InitStruct.Pin = RMII_TXD0_Pin;
	GPIO_InitStruct.Mode = GPIO_MODE_AF_PP;
	GPIO_InitStruct.Pull = GPIO_NOPULL;
	GPIO_InitStruct.Speed = GPIO_SPEED_FREQ_VERY_HIGH;
	GPIO_InitStruct.Alternate = GPIO_AF11_ETH;
	HAL_GPIO_Init(RMII_TXD0_GPIO_Port, &GPIO_InitStruct);

	/*Configure GPIO pins : PB8 PB9 */
	GPIO_InitStruct.Pin = GPIO_PIN_8 | GPIO_PIN_9;
	GPIO_InitStruct.Mode = GPIO_MODE_AF_PP;
	GPIO_InitStruct.Pull = GPIO_NOPULL;
	GPIO_InitStruct.Speed = GPIO_SPEED_FREQ_VERY_HIGH;
	GPIO_InitStruct.Alternate = GPIO_AF7_UART5;
	HAL_GPIO_Init(GPIOB, &GPIO_InitStruct);

}

/* USER CODE BEGIN 4 */
// Called by printf, redirected to logger
PUTCHAR_PROTOTYPE
{
	Log_Char(&hlog, ch);
	return ch;
}

// Save an acceleration data array
void Main_Save_a_Buffer(volatile a_data_point_t *buffer)
{
	if (SD_WriteBuffer(&hvsd1, hvsd1.a_file_path, (void*)buffer, hbuffer_a.save_len * sizeof(a_data_point_t)) != HAL_OK)
	{
		Error_Handler();
	}
	if (config.print_acceleration_data)
	{
		Debug_test_print_a(buffer);
	}
}

// Save a position data array
void Main_Save_p_Buffer(volatile p_data_point_t *buffer)
{
	if (SD_WriteBuffer(&hvsd1, hvsd1.p_file_path, (void*)buffer, hbuffer_p.save_len * sizeof(p_data_point_t)) != HAL_OK)
	{
		Error_Handler();
	}
}

// Handles saving data by double buffering
void Main_Double_Buffer_Loop()
{
	// If a_buffer_1 is ready to save
	if (hbuffer_a.flag_save_buffer_1)
	{
		DEBUG_A_BUFFER_1_SD
		Main_Save_a_Buffer(a_buffer_1);
		// Flag a_buffer_1 as saved
		hbuffer_a.flag_save_buffer_1 = 0;
		DEBUG_A_BUFFER_1_SD
	}
	// If a_buffer_2 is ready to save
	if (hbuffer_a.flag_save_buffer_2)
	{
		DEBUG_A_BUFFER_2_SD
		Main_Save_a_Buffer(a_buffer_2);
		// Flag a_buffer_2 as saved
		hbuffer_a.flag_save_buffer_2 = 0;
		DEBUG_A_BUFFER_2_SD
	}
	if (hbuffer_a.flag_overflow)
	{
		printf("(%lu) WARNING: main: a_buffer overflow\r\n", HAL_GetTick());
		hbuffer_a.flag_overflow = 0;
	}

	// If p_buffer_1 is ready to save
	if (hbuffer_p.flag_save_buffer_1)
	{
		DEBUG_P_BUFFER_1_SD
		Main_Save_p_Buffer(p_buffer_1);
		// Flag p_buffer_1 as saved
		hbuffer_p.flag_save_buffer_1 = 0;
		DEBUG_P_BUFFER_1_SD
	}
	// If p_buffer_2 is ready to save
	if (hbuffer_p.flag_save_buffer_2)
	{
		DEBUG_P_BUFFER_2_SD
		Main_Save_p_Buffer(p_buffer_2);
		// Flag p_buffer_2 as saved
		hbuffer_p.flag_save_buffer_2 = 0;
		DEBUG_P_BUFFER_2_SD
	}
	if (hbuffer_p.flag_overflow)
	{
		printf("(%lu) WARNING: main: p_buffer overflow\r\n", HAL_GetTick());
		hbuffer_p.flag_overflow = 0;
	}
}

// Parse circular buffered NMEA packets
void Main_NMEA_Loop()
{
	NMEA_Data_t data;
	while (NMEA_ProcessLine(&hnmea, &data))
	{
		uint8_t any_valid = 0;
		if (data.position_valid)
		{
			any_valid = 1;
			time_p_last_lock = HAL_GetTick();
			flag_complete_p_position = 1;
			p_current_data_point->lat = data.lat;
			p_current_data_point->lon = data.lon;

			// Activate GNSS lock LED
			if (HAL_GetTick() - hvsd1.a_header.boot_duration > 4000 + hvsd1.dir_num * 400)
			{
				HAL_GPIO_WritePin(LED_GNSS_LOCK, GPIO_PIN_SET);
			}
		}
		if (data.speed_valid)
		{
			any_valid = 1;
			flag_complete_p_speed = 1;
			p_current_data_point->speed = data.speed_kmh;
		}
		if (data.altitude_valid)
		{
			any_valid = 1;
			flag_complete_p_altitude = 1;
			p_current_data_point->altitude = data.altitude;
		}
		if (data.time_valid)
		{
			any_valid = 1;
			flag_complete_p_time = 1;
			p_current_data_point->gnss_hour = data.hour;
			p_current_data_point->gnss_minute = data.minute;
			p_current_data_point->gnss_second = data.second;
		}
		if (any_valid)
		{
			// Set time for last valid packet
			time_p_last = HAL_GetTick();
			// If timer for incrementing the data point index is not running yet
			if (time_p_inc == 0)
			{
				// Start the timer
				time_p_inc = HAL_GetTick() + NMEA_PACKET_MERGE_DURATION;
			}
			// If the timer was already running, the data was merged into the same p_data_point_t (by not yet incrementing the index) and the timer keeps running
		}
	}
	// Next position data point if timer ended
	if (HAL_GetTick() > time_p_inc && time_p_inc != 0)
	{
		time_p_inc = 0;
		Main_Increment_p_Buffer();
	}
	// Warning if no NMEA data
	if (HAL_GetTick() - time_p_last > NMEA_NO_PACKET_DURATION && time_p_last != 0)
	{
		printf("(%lu) WARNING: No NMEA data\r\n", HAL_GetTick());
		time_p_last = 0;
	}
	// Warning if no position lock
	if (HAL_GetTick() - time_p_last_lock > NMEA_NO_PACKET_DURATION && time_p_last_lock != 0)
	{
		printf("(%lu) WARNING: No position lock\r\n", HAL_GetTick());
		// Deactivate GNSS lock LED
		if (HAL_GetTick() - hvsd1.a_header.boot_duration > 4000 + hvsd1.dir_num * 400)
		{
			HAL_GPIO_WritePin(LED_GNSS_LOCK, GPIO_PIN_RESET);
		}
		time_p_last_lock = 0;
	}
}

// Next acceleration data point
void Main_Increment_a_Buffer()
{
	// Merge complete bits of last data point
	a_current_data_point->complete |= (1 << A_COMPLETE_TIMESTAMP)
		| (flag_complete_a_mems << A_COMPLETE_MEMS)
		| (flag_complete_a_pz << A_COMPLETE_PZ);

	if (ticks_counter > 1)
	{
		Double_Buffer_Increment(&hbuffer_a);
		a_current_data_point = Double_Buffer_Current(&hbuffer_a);
	}

	// Set timestamp of next data point
	a_current_data_point->timestamp = ticks_counter;
}

// Next position data point
void Main_Increment_p_Buffer()
{
	// Merge complete bits of last data point
	p_current_data_point->complete |= (1 << P_COMPLETE_TIMESTAMP)
		| (flag_complete_p_time << P_COMPLETE_GNSS_TIME)
		| (flag_complete_p_position << P_COMPLETE_POSITION)
		| (flag_complete_p_speed << P_COMPLETE_SPEED)
		| (flag_complete_p_altitude << P_COMPLETE_ALTITUDE);

	// Position data prints every sample due to relatively low sampling rate
	// Acceleration data is printed as stats of entire buffer
	if (config.print_position_data)
	{
		Debug_test_print_p(p_current_data_point);
	}

	Double_Buffer_Increment(&hbuffer_p);
	p_current_data_point = Double_Buffer_Current(&hbuffer_p);

	// Set timestamp of next data point
	p_current_data_point->timestamp = ticks_counter;
}

void HAL_TIM_PeriodElapsedCallback(TIM_HandleTypeDef *htim)
{
	// Regular sampling timer
	if (htim->Instance == TIM3)
	{
		DEBUG_A_TIMER

		if (capture_running)
		{
			// Increment data point index
			Main_Increment_a_Buffer();
			// Increment system timestamp
			ticks_counter++;

			// Request MEMS acceleration data
			if (ADXL_RequestData(&hadxl) == HAL_ERROR)
			{
				printf("(%lu) WARNING: ADXL_RequestData: TxRx failed\r\n", HAL_GetTick());
			}
		}

		DEBUG_A_TIMER
	}
}

void HAL_ADC_ConvCpltCallback(ADC_HandleTypeDef *hadc)
{
	if (capture_running)
	{
		// Piezo ADC
		if (hadc->Instance == ADC1)
		{
			DEBUG_ADC_PZ_CONV

			// Put n samples into filter input for each channel (where n is the oversampling ratio)
			for (uint8_t i_sample = 0; i_sample < config.oversampling_ratio; i_sample++)
			{
				for (uint8_t i_ch = 0; i_ch < config.piezo_count; i_ch++)
				{
					// Left shift for precision increase due to downsampling, subtraction for conversion from unsigned to signed
					hfir_pz[i_ch].In[i_sample] = (pz_dma_buffer[i_sample * config.piezo_count + i_ch] << 1) - 4094;
				}
			}
			// Calculate FIR filter for each channel
			for (uint8_t i_ch = 0; i_ch < config.piezo_count; i_ch++)
			{
				// If FIR is enabled
				if (config.fir_type > 0)
				{
					FIR_Update(&hfir_pz[i_ch]);
					a_current_data_point->a_piezo[i_ch] = hfir_pz[i_ch].Out[0];
				}
				else
				{
					a_current_data_point->a_piezo[i_ch] = hfir_pz[i_ch].In[0];
				}
			}
			flag_complete_a_pz = 1;

#if DEBUG_TEST_FIR_DAC
			HAL_DAC_SetValue(&hdac, DAC_CHANNEL_2, DAC_ALIGN_12B_R, ((uint16_t)hfir_pz[1].Out[0] >> 1) + 2047);
#endif

			DEBUG_ADC_PZ_CONV
		}
	}
}

void HAL_SPI_TxRxCpltCallback(SPI_HandleTypeDef *hspi)
{
	if (hspi->Instance == hadxl.hspi->Instance)
	{
		DEBUG_ADXL_PROCESS

		// Parse received acceleration data
		ADXL_Data_t adxl_data = ADXL_RxCallback(&hadxl);
		a_current_data_point->xyz_mems1[0] = adxl_data.x;
		a_current_data_point->xyz_mems1[1] = adxl_data.y;
		a_current_data_point->xyz_mems1[2] = adxl_data.z;
		a_current_data_point->temp_mems1 = adxl_data.temp;
		flag_complete_a_mems = adxl_data.data_valid;

		DEBUG_ADXL_PROCESS
	}
}

void HAL_UART_RxCpltCallback(UART_HandleTypeDef *huart)
{
	if (huart->Instance == hnmea.huart->Instance)
	{
		DEBUG_NMEA_PROCESS

		// NMEA DMA buffer full, redirected to NMEA handler functions
		if (NMEA_ProcessDMABuffer(&hnmea) == HAL_ERROR)
		{
			Error_Handler();
		}

		DEBUG_NMEA_PROCESS
	}
}
/* USER CODE END 4 */

void Error_Handler(void)
{
	/* USER CODE BEGIN Error_Handler_Debug */
	/* User can add their own implementation to report the HAL error return state */
	HAL_GPIO_WritePin(LED_ERROR, GPIO_PIN_SET);
	printf("(%lu) Fatal Error, but attempting to continue\r\n", HAL_GetTick());
	// Uncomment to stop system on error (do not attempt to continue)
	/*
	 SD_FlushLog();
	 SD_Uninit();
	 __disable_irq();
	 while (1)
	 ;
	 */
	/* USER CODE END Error_Handler_Debug */
}

#ifdef  USE_FULL_ASSERT
/**
  * @brief  Reports the name of the source file and the source line number
  *         where the assert_param error has occurred.
  * @param  file: pointer to the source file name
  * @param  line: assert_param error line source number
  * @retval None
  */
void assert_failed(uint8_t *file, uint32_t line)
{
  /* USER CODE BEGIN 6 */
  /* User can add their own implementation to report the file name and line number,
     ex: printf("Wrong parameters value: file %s on line %d\r\n", file, line) */
  /* USER CODE END 6 */
}
#endif /* USE_FULL_ASSERT */
